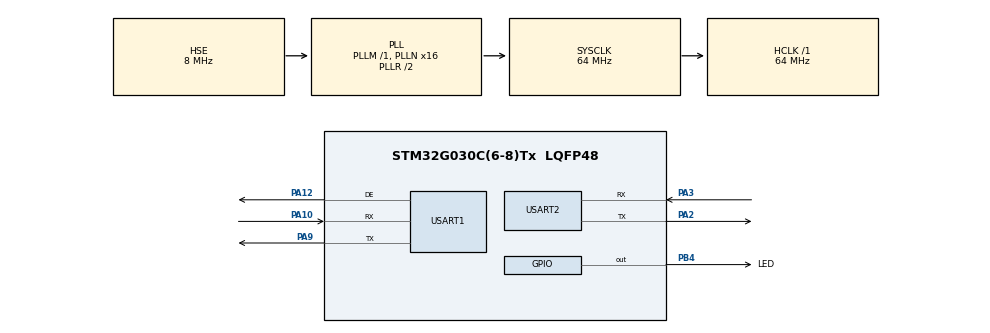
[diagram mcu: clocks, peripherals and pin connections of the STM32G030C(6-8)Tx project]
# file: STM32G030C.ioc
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Mcu.Family=STM32G0
Mcu.Name=STM32G030C(6-8)Tx
Mcu.Package=LQFP48
NVIC.TIM3_IRQn=true\:0\:0\:false\:false\:true\:true\:true
NVIC.USART1_IRQn=true\:0\:0\:false\:false\:true\:true\:true
NVIC.USART2_IRQn=true\:0\:0\:false\:false\:true\:true\:true
PA10.Mode=Asynchronous
PA10.Signal=USART1_RX
PA12\ [PA10].Mode=Hardware Flow Control (RS485)
PA12\ [PA10].Signal=USART1_DE
PA13.Mode=Serial_Wire
PA13.Signal=SYS_SWDIO
PA14-BOOT0.Mode=Serial_Wire
PA14-BOOT0.Signal=SYS_SWCLK
PA2.Mode=Asynchronous
PA2.Signal=USART2_TX
PA3.Mode=Asynchronous
PA3.Signal=USART2_RX
PA9.Mode=Asynchronous
PA9.Signal=USART1_TX
PB4.GPIO_Label=LED
PB4.Signal=GPIO_Output
PF0-OSC_IN\ (PF0).Mode=HSE-External-Oscillator
PF0-OSC_IN\ (PF0).Signal=RCC_OSC_IN
PF1-OSC_OUT\ (PF1).Mode=HSE-External-Oscillator
PF1-OSC_OUT\ (PF1).Signal=RCC_OSC_OUT
ProjectManager.HeapSize=0x200
ProjectManager.StackSize=0x400
ProjectManager.TargetToolchain=MDK-ARM V5.27
RCC.ADCFreq_Value=64000000
RCC.AHBFreq_Value=64000000
RCC.CortexFreq_Value=64000000
RCC.EXTERNAL_CLOCK_VALUE=12288000
RCC.HCLKFreq_Value=64000000
RCC.HSE_VALUE=8000000
RCC.HSI_VALUE=16000000
RCC.LSE_VALUE=32768
RCC.PLLN=16
RCC.PLLSourceVirtual=RCC_PLLSOURCE_HSE
RCC.SYSCLKFreq_VALUE=64000000
RCC.SYSCLKSource=RCC_SYSCLKSOURCE_PLLCLK
RCC.VCOOutputFreq_Value=128000000
TIM3.AutoReloadPreload=TIM_AUTORELOAD_PRELOAD_ENABLE
TIM3.Period=1000
TIM3.Prescaler=63
USART1.AutoBaudRateEnableParam=UART_ADVFEATURE_AUTOBAUDRATE_ENABLE
USART1.VirtualMode-Asynchronous=VM_ASYNC
USART1.VirtualMode-Hardware\ Flow\ Control\ (RS485)=VM_ASYNC
USART2.VirtualMode-Asynchronous=VM_ASYNC
VP_TIM1_VS_ClockSourceINT.Mode=Internal
VP_TIM3_VS_ClockSourceINT.Mode=Internal
board=custom

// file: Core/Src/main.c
/* USER CODE BEGIN Header */
/**
  ******************************************************************************
  * @file           : main.c
  * @brief          : Main program body
  ******************************************************************************
  * @attention
  *
  * <h2><center>&copy; Copyright (c) 2021 STMicroelectronics.
  * All rights reserved.</center></h2>
  *
  * This software component is licensed by ST under BSD 3-Clause license,
  * the "License"; You may not use this file except in compliance with the
  * License. You may obtain a copy of the License at:
  *                        opensource.org/licenses/BSD-3-Clause
  *
  ******************************************************************************
  */
/* USER CODE END Header */
#include "main.h"
#include "tim.h"
#include "usart.h"
#include "gpio.h"

/* USER CODE BEGIN Includes */
#include <stdio.h>
#include <stdlib.h>
#include <stdarg.h>
#include <string.h>
#include "Modbus.h"
/* USER CODE END Includes */

/* USER CODE BEGIN PTD */
#ifdef __GNUC__
    #define PUTCHAR_PROTOTYPE int __io_putchar(int ch)
#else
    #define PUTCHAR_PROTOTYPE int fputc(int ch, FILE *f)
#endif /* __GNUC__ */

int fputc(int ch, FILE *f)
{
    HAL_UART_Transmit(&huart2, (uint8_t *)&ch, 1, 0xFFFF);
    return ch;
}
/* USER CODE END PTD */

void SystemClock_Config(void);

/* USER CODE BEGIN 0 */
// uint8_t regs[40];
// volatile uint32_t g_ticks;
// void mbsendHandler(byte* arr, size_t len)
// {
//     HAL_UART_Transmit(&huart1, arr, len, 1000);
// }

// size_t GetRegisterHandler(uint16_t addr, uint16_t len, uint16_t* arr)
// {
//     for(u8 i=0; i<len; i++){
//         arr[i]=regs[addr+i];
//     }
// }
// size_t SetRegisterHandler(uint16_t addr, uint16_t len, uint16_t* arr)
// {
//     for(u8 i=0; i<len; i++){
//         regs[addr+i]=arr[i];
//     }
// }
volatile uint8_t RxData;
void HAL_UART_RxCpltCallback(UART_HandleTypeDef *huart)
{
  if(&huart1 == huart) {
    // ModBus_readByteFromOuter(&qitas, RxData);
    ReceiveInterrupt(RxData);
    HAL_UART_Receive_IT(huart, &RxData, 1);
  }
}
/* USER CODE END 0 */

int main(void)
{
  /* USER CODE BEGIN 1 */
//    ModBus_Setting_T setting;
  /* USER CODE END 1 */

  /* MCU Configuration--------------------------------------------------------*/

  /* Reset of all peripherals, Initializes the Flash interface and the Systick. */
  HAL_Init();

  /* Configure the system clock */
  SystemClock_Config();

  /* Initialize all configured peripherals */
  MX_GPIO_Init();
  MX_TIM1_Init();
  MX_USART1_UART_Init();
  MX_USART2_UART_Init();
  MX_TIM3_Init();
  /* USER CODE BEGIN 2 */
  HAL_TIM_Base_Start_IT(&htim3);
  HAL_UART_Receive_IT(&huart1, &RxData, 1);
  // setting.address=1;
  // setting.frameType=RTU;
  // setting.baudRate=115200;
  // setting.sendHandler=&mbsendHandler;
  // // ModBus_setTimeout(&qitas, 5, 5);
  // ModBus_attachRegisterHandler(&qitas,&GetRegisterHandler,&SetRegisterHandler);
  // ModBus_setup(&qitas,setting);
  printf("init");
  modbus_init();
  /* USER CODE END 2 */

  /* Infinite loop */
  while (1)
  {

    /* USER CODE BEGIN 3 */
    // ModBus_Master_loop(&qitas);
    // unit_test();
    // ModBus_Slave_loop(&qitas);
    // ModBus_setRegister(&qitas, 1, 12, &mbsendHandler);
    // if(g_ticks%1000==0)
    modbus_task();
    HAL_GPIO_TogglePin(LED_GPIO_Port, LED_Pin);
    printf("test\n ");
    HAL_Delay(500);
  }
  /* USER CODE END 3 */
}

void SystemClock_Config(void)
{
  RCC_OscInitTypeDef RCC_OscInitStruct = {0};
  RCC_ClkInitTypeDef RCC_ClkInitStruct = {0};
  RCC_PeriphCLKInitTypeDef PeriphClkInit = {0};

  /** Configure the main internal regulator output voltage
  */
  HAL_PWREx_ControlVoltageScaling(PWR_REGULATOR_VOLTAGE_SCALE1);
  /** Initializes the RCC Oscillators according to the specified parameters
  * in the RCC_OscInitTypeDef structure.
  */
  RCC_OscInitStruct.OscillatorType = RCC_OSCILLATORTYPE_HSE;
  RCC_OscInitStruct.HSEState = RCC_HSE_ON;
  RCC_OscInitStruct.PLL.PLLState = RCC_PLL_ON;
  RCC_OscInitStruct.PLL.PLLSource = RCC_PLLSOURCE_HSE;
  RCC_OscInitStruct.PLL.PLLM = RCC_PLLM_DIV1;
  RCC_OscInitStruct.PLL.PLLN = 16;
  RCC_OscInitStruct.PLL.PLLP = RCC_PLLP_DIV2;
  RCC_OscInitStruct.PLL.PLLR = RCC_PLLR_DIV2;
  if (HAL_RCC_OscConfig(&RCC_OscInitStruct) != HAL_OK)
  {
    Error_Handler();
  }
  /** Initializes the CPU, AHB and APB buses clocks
  */
  RCC_ClkInitStruct.ClockType = RCC_CLOCKTYPE_HCLK|RCC_CLOCKTYPE_SYSCLK
                              |RCC_CLOCKTYPE_PCLK1;
  RCC_ClkInitStruct.SYSCLKSource = RCC_SYSCLKSOURCE_PLLCLK;
  RCC_ClkInitStruct.AHBCLKDivider = RCC_SYSCLK_DIV1;
  RCC_ClkInitStruct.APB1CLKDivider = RCC_HCLK_DIV1;

  if (HAL_RCC_ClockConfig(&RCC_ClkInitStruct, FLASH_LATENCY_2) != HAL_OK)
  {
    Error_Handler();
  }
  /** Initializes the peripherals clocks
  */
  PeriphClkInit.PeriphClockSelection = RCC_PERIPHCLK_USART1;
  PeriphClkInit.Usart1ClockSelection = RCC_USART1CLKSOURCE_PCLK1;
  if (HAL_RCCEx_PeriphCLKConfig(&PeriphClkInit) != HAL_OK)
  {
    Error_Handler();
  }
}

/* USER CODE BEGIN 4 */
void HAL_TIM_PeriodElapsedCallback(TIM_HandleTypeDef *htim)
{
    if(htim==(&htim3))  //1ms
    {
      ModBus_TimerValues();
      // g_ticks++;
    }
}
/* USER CODE END 4 */

void Error_Handler(void)
{
  __disable_irq();
  while (1)
  {
  }
}

/************************ (C) COPYRIGHT STMicroelectronics *****END OF FILE****/
